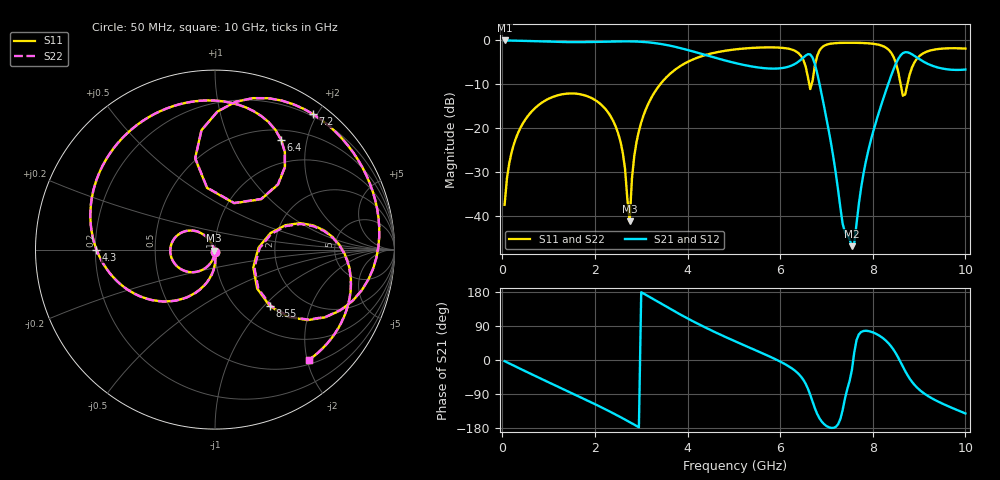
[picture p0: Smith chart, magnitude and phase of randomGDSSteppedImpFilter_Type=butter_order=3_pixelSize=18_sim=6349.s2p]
! freq	dB(S11)	phase(S11)	dB(S12)	phase(S12)
!  dB(S21)	phase(S21)	dB(S22)	phase(S22)
!S-par simulation data
#  GHz  S  DB  R 50
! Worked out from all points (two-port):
!   200 points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, 50 MHz to 10 GHz, reference 50 ohm
!   highest |S21| = -0.01 dB at 50 MHz (marker M1); lowest = -46.8 dB at 7.55 GHz (marker M2)
!   |S21| within 3 dB of the highest: start of sweep to 4.285 GHz; 8.639 GHz to 8.819 GHz (180.8 MHz wide, 2.07 % of centre)
!   lowest |S11| = -41.2 dB at 2.75 GHz (marker M3), VSWR 1.02, Z = 49.4 - j0.635 ohm
!   |S11| at or under -10 dB: start of sweep to 3.409 GHz; 6.63 GHz to 6.679 GHz (48.45 MHz wide, 0.728 % of centre); 8.602 GHz to 8.746 GHz (144.6 MHz wide, 1.67 % of centre)
!   |S22| runs from -41.8 to -0.5 dB; largest |S21 - S12| = 0
!   S11 on the Smith chart (normalised r, x): 50 MHz: 1.00, -0.03; 4.3 GHz: 0.20, +0.00; 6.4 GHz: 0.64, +1.58; 7.2 GHz: 0.17, +1.94; 8.55 GHz: 1.39, -1.09; 10 GHz: 0.58, -2.04
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0.05  -37.40 -92.6  -0.01 -3.0  -0.01 -3.0  -37.40 -92.6
0.2  -25.49 -102.0  -0.03 -12.0  -0.03 -12.0  -25.49 -102.0
0.5  -17.96 -120.2  -0.11 -29.8  -0.11 -29.8  -17.96 -120.2
1.75  -12.41 168.0  -0.38 -101.7  -0.38 -101.7  -12.41 167.9
2.5  -21.08 124.7  -0.22 -147.3  -0.22 -147.3  -21.09 124.2
2.75  -41.18 -132.6  -0.22 -163.9  -0.22 -163.9  -41.84 -130.6
2.9  -23.02 -89.5  -0.26 -174.1  -0.26 -174.1  -23.03 -88.6
3.4  -10.11 -121.2  -0.76 150.7  -0.76 150.7  -10.11 -120.9
4.3  -3.61 180.0  -3.05 90.9  -3.05 90.9  -3.61 -179.9
5.05  -2.01 137.8  -5.19 48.1  -5.19 48.1  -2.01 137.9
5.85  -1.58 95.4  -6.42 4.9  -6.42 4.9  -1.58 95.5
6.4  -2.93 58.9  -4.79 -37.0  -4.79 -37.0  -2.92 59.0
6.7  -9.20 97.4  -3.90 -109.9  -3.90 -109.9  -9.17 97.3
6.9  -1.60 82.0  -12.45 -162.8  -12.45 -162.8  -1.60 82.0
7.2  -0.61 54.1  -30.14 -176.6  -30.14 -176.6  -0.61 54.2
7.55  -0.53 32.0  -46.81 -25.6  -46.81 -25.6  -0.53 32.1
7.9  -0.65 10.8  -25.21 76.5  -25.21 76.5  -0.65 10.9
8.35  -2.20 -25.8  -9.41 42.8  -9.41 42.8  -2.19 -25.6
8.55  -7.14 -45.9  -4.21 6.3  -4.21 6.3  -7.07 -45.2
8.7  -12.29 2.7  -2.67 -29.2  -2.67 -29.2  -12.08 1.9
8.9  -4.98 13.9  -3.53 -65.5  -3.53 -65.5  -4.96 13.3
10  -1.86 -49.4  -6.62 -141.1  -6.62 -141.1  -1.86 -49.7
